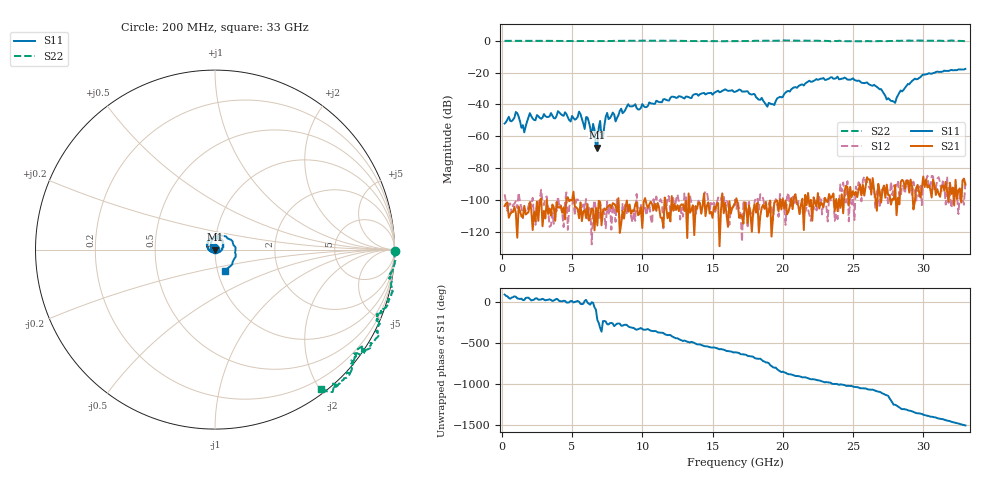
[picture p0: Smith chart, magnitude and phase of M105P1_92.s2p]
# GHZ S RI R 50
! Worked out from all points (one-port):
!   329 points, 200 MHz to 33 GHz, reference 50 ohm
!   lowest |S11| = -67.2 dB at 6.8 GHz (marker M1), VSWR 1.00, Z = 50 + j0.0292 ohm
!   |S11| at or under -10 dB: start of sweep to end of sweep
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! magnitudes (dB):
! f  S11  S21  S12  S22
! 200 MHz  -52.0  -103.9  -96.5  0.0
! 1 GHz  -44.7  -108.4  -100.8  0.0
! 1.6 GHz  -57.5  -103.7  -105.5  0.0
! 2 GHz  -45.4  -101.4  -100.5  0.1
! 5.7 GHz  -49.1  -113.3  -104.5  -0.1
! 5.9 GHz  -55.4  -106.4  -106.1  -0.1
! 6.1 GHz  -48.2  -102.7  -111.8  -0.1
! 6.4 GHz  -60.7  -105.4  -128.0  -0.1
! 6.5 GHz  -52.2  -106.1  -106.2  -0.1
! 6.8 GHz  -67.2  -116.0  -104.3  -0.1
! 7 GHz  -50.3  -101.3  -102.7  -0.1
! 7.2 GHz  -61.0  -107.2  -106.0  -0.1
! 7.5 GHz  -45.3  -104.6  -101.0  -0.1
! 8.1 GHz  -50.6  -103.7  -113.8  0.0
! 11.2 GHz  -38.5  -105.2  -101.9  0.1
! 16.6 GHz  -32.1  -102.0  -99.9  -0.2
! 18.9 GHz  -41.4  -110.6  -106.6  0.1
! 22.1 GHz  -25.6  -113.1  -106.1  0.2
! 25 GHz  -23.6  -94.5  -98.6  -0.3
! 27.6 GHz  -36.8  -97.1  -100.6  -0.1
! 30 GHz  -21.2  -85.3  -86.6  0.2
! 33 GHz  -17.6  -90.5  -88.4  -0.2
